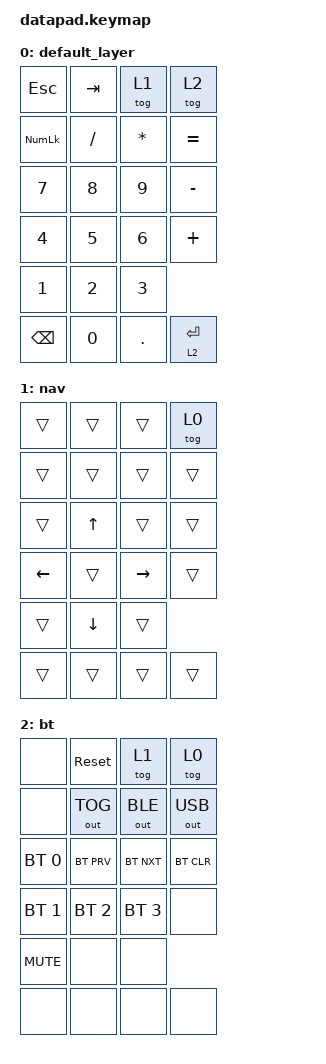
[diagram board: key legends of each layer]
#include <behaviors.dtsi>
#include <dt-bindings/zmk/bt.h>
#include <dt-bindings/zmk/keys.h>
#include <dt-bindings/zmk/outputs.h>

#define DEFAULT 0
#define BT    1
#define NONE 0

/ {
    macros {
        Double0: Double0 {
            compatible = "zmk,behavior-macro";
            #binding-cells = <0>;
            bindings = <&kp NUMBER_0 &kp NUMBER_0>;
            label = "DOUBLE0";
        };
    };

    keymap {
        compatible = "zmk,keymap";

        default_layer {
            bindings = <
&kp ESC         &kp TAB       &tog 1        &tog 2
&kp KP_NUMLOCK  &kp SLASH     &kp ASTERISK  &kp EQUAL
&kp NUMBER_7    &kp NUMBER_8  &kp NUMBER_9  &kp MINUS
&kp NUMBER_4    &kp N5        &kp NUMBER_6  &kp PLUS
&kp NUMBER_1    &kp NUMBER_2  &kp NUMBER_3
&kp BACKSPACE   &kp NUMBER_0  &kp DOT       &lt 2 ENTER
            >;
        };

        nav {
            bindings = <
&trans    &trans        &trans     &tog 0
&trans    &trans        &trans     &trans
&trans    &kp UP_ARROW  &trans     &trans
&kp LEFT  &trans        &kp RIGHT  &trans
&trans    &kp DOWN      &trans
&trans    &trans        &trans     &trans
            >;
        };

        bt {
            bindings = <
&none         &sys_reset    &tog 1        &tog 0
&none         &out OUT_TOG  &out OUT_BLE  &out OUT_USB
&bt BT_SEL 0  &bt BT_PRV    &bt BT_NXT    &bt BT_CLR
&bt BT_SEL 1  &bt BT_SEL 2  &bt BT_SEL 3  &none
&kp C_MUTE    &none         &none
&none         &none         &none         &none
            >;
        };
    };
};
